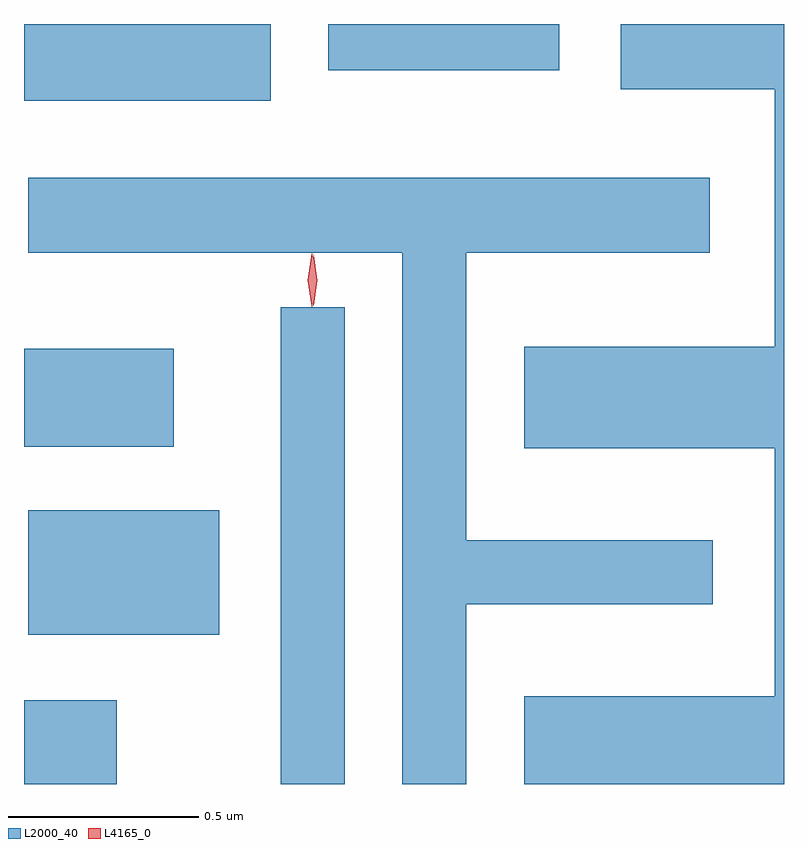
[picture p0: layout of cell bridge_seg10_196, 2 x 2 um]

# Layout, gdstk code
import gdstk
lib = gdstk.Library(unit=1e-6, precision=1e-09)
def R(c, l, rs):  # rectangles x0, y0, x1, y1
    for r in rs: c.add(gdstk.rectangle(r[:2], r[2:], *l))
def P(c, l, *ps):  # polygons
    for p in ps: c.add(gdstk.Polygon(p, *l))
L2000_40 = (2000, 40)
L4165_0 = (4165, 0)

bridge_seg10_196 = lib.new_cell('bridge_seg10_196')
R(bridge_seg10_196, L2000_40, [(1855.875,2140.918,1856.119,2141.139), (1856.551,2140.918,1856.719,2142.173), (1855.886,2141.311,1856.389,2141.639), (1855.875,2141.806,1856.269,2142.064), (1855.875,2142.716,1856.524,2142.918), (1856.676,2142.796,1857.284,2142.918)])
P(bridge_seg10_196, L2000_40, [(1857.875,2142.918),(1857.446,2142.918),(1857.446,2142.746),(1857.851,2142.746),(1857.851,2142.069),(1857.191,2142.069),(1857.191,2141.801),(1857.851,2141.801),(1857.851,2141.149),(1857.191,2141.149),(1857.191,2140.918),(1857.875,2140.918)],
  [(1857.039,2141.391),(1857.688,2141.391),(1857.688,2141.559),(1857.039,2141.559),(1857.039,2142.316),(1857.679,2142.316),(1857.679,2142.514),(1855.886,2142.514),(1855.886,2142.316),(1856.871,2142.316),(1856.871,2140.918),(1857.039,2140.918)])
P(bridge_seg10_196, L4165_0, [(1856.632,2142.174),(1856.632,2142.175),(1856.622,2142.244),(1856.632,2142.313),(1856.632,2142.314),(1856.633,2142.313),(1856.642,2142.244),(1856.633,2142.175)],
  [(1856.636,2142.178),(1856.627,2142.244),(1856.637,2142.31),(1856.637,2142.311),(1856.638,2142.31),(1856.647,2142.244),(1856.637,2142.178),(1856.637,2142.178)])

lib.write_gds('bridge_seg10_196.gds')
